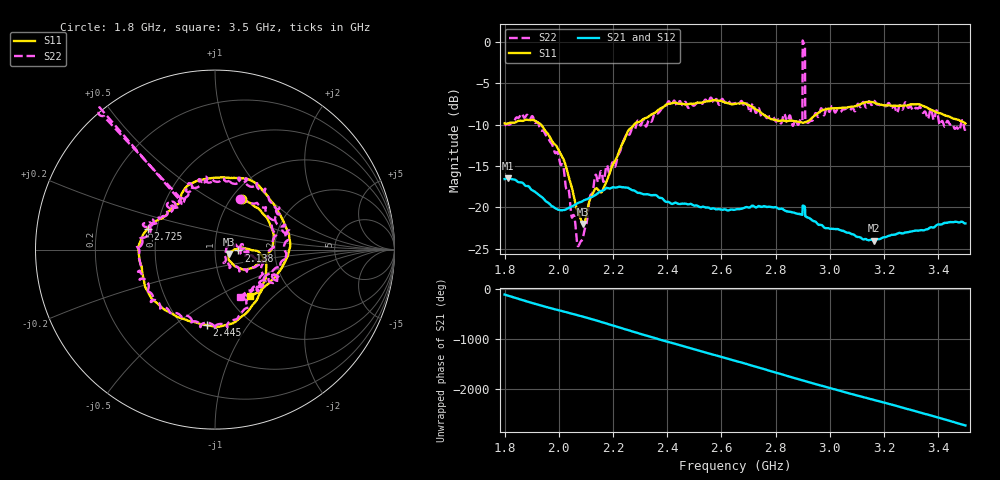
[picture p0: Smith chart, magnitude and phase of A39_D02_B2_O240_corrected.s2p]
! Created with skrf 1.9.0 (http://scikit-rf.org).
# Hz S RI R 50.0
!freq ReS11 ImS11 ReS21 ImS21 ReS12 ImS12 ReS22 ImS22
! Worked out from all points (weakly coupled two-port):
!   1601 points, 1.8 GHz to 3.5 GHz, reference 50 ohm
!   highest |S21| = -16.49 dB at 1.812 GHz (marker M1); lowest = -24.0 dB at 3.162 GHz (marker M2)
!   lowest |S11| = -22.0 dB at 2.09 GHz (marker M3), VSWR 1.17, Z = 58.1 - j2.81 ohm
!   |S11| at or under -10 dB: 1.935 GHz to 2.277 GHz (342.4 MHz wide, 16.3 % of centre)
!   |S22| runs from -24.7 to 0.2 dB; largest |S21 - S12| = 0.0025
!   S11 on the Smith chart (normalised r, x): 1.8 GHz: 1.12, +0.71; 2.138 GHz: 1.30, -0.01; 2.445 GHz: 0.65, -0.66; 2.725 GHz: 0.44, +0.12; 3.5 GHz: 1.25, -0.72
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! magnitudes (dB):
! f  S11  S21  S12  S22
! 1.8 GHz  -9.8  -16.6  -16.6  -10.1
! 1.812 GHz  -9.9  -16.5  -16.5  -9.9
! 1.901 GHz  -9.4  -17.9  -17.8  -9.0
! 1.966 GHz  -11.4  -19.6  -19.6  -11.9
! 2.013 GHz  -13.9  -20.3  -20.3  -14.8
! 2.07 GHz  -20.5  -19.5  -19.5  -24.7
! 2.084 GHz  -21.6  -19.3  -19.3  -24.0
! 2.09 GHz  -22.0  -19.2  -19.2  -23.5
! 2.138 GHz  -17.7  -18.4  -18.4  -16.1
! 2.26 GHz  -10.6  -17.7  -17.7  -11.2
! 2.367 GHz  -8.2  -18.7  -18.7  -8.6
! 2.445 GHz  -7.5  -19.6  -19.6  -7.2
! 2.65 GHz  -7.5  -20.3  -20.2  -7.4
! 2.725 GHz  -8.1  -20.0  -20.0  -8.5
! 2.887 GHz  -9.6  -20.8  -20.8  -9.8
! 2.9 GHz  -9.7  -19.8  -19.8  0.2
! 2.908 GHz  -9.7  -20.0  -19.9  -0.3
! 2.918 GHz  -9.6  -21.2  -21.2  -9.8
! 2.934 GHz  -9.2  -21.5  -21.5  -9.5
! 3.162 GHz  -7.3  -24.0  -24.0  -7.2
! 3.217 GHz  -7.7  -23.4  -23.4  -7.4
! 3.5 GHz  -9.8  -21.9  -21.9  -10.5
